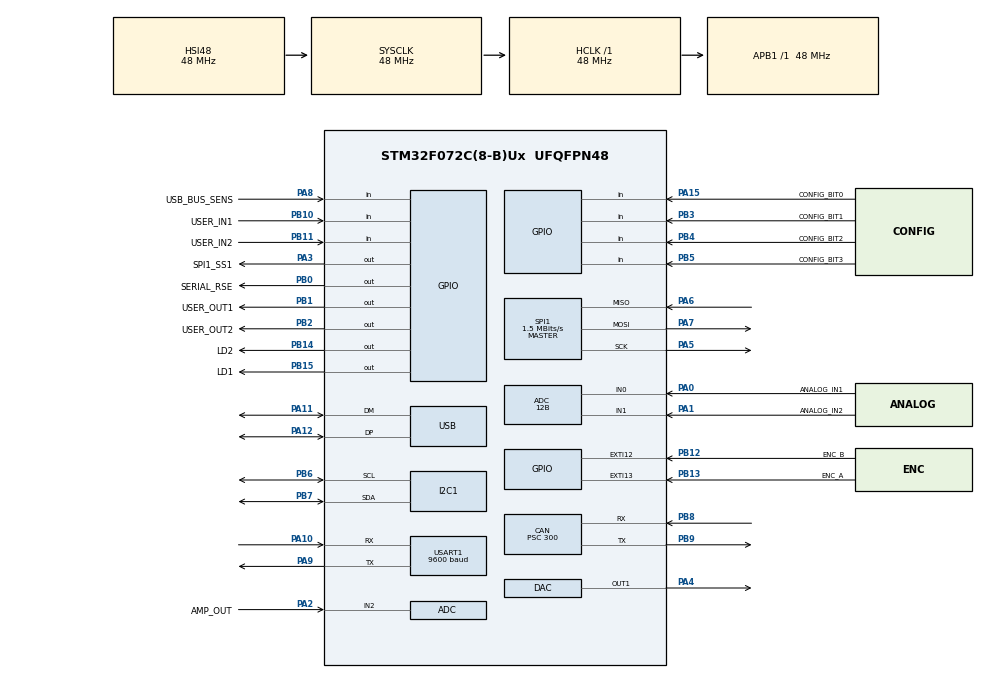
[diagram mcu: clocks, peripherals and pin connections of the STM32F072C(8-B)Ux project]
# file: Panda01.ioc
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Mcu.Family=STM32F0
PA6.Mode=Full_Duplex_Master
USB_DEVICE.CLASS_NAME_FS=CDC
Dma.ADC.0.Mode=DMA_CIRCULAR
SPI1.VirtualType=VM_MASTER
PB10.GPIO_PuPd=GPIO_PULLUP
NVIC.USB_IRQn=true\:0\:0\:false\:false\:true\:false\:true
USART1.BaudRate=9600
PB14.GPIO_Label=LD2
PA0.GPIO_Label=ANALOG_IN1
Dma.ADC.0.Priority=DMA_PRIORITY_HIGH
PA11.Mode=Device
ADC.ScanConvMode=ADC_SCAN_DIRECTION_FORWARD
PB0.GPIO_Label=SERIAL_RSE
PB11.GPIO_PuPd=GPIO_PULLUP
PB13.GPIO_Label=ENC_A
PB11.Signal=GPIO_Input
PB15.Signal=GPIO_Output
PB13.Signal=GPXTI13
USART1.AutoBaudRateMode=UART_ADVFEATURE_AUTOBAUDRATE_ONFALLINGEDGE
RCC.SYSCLKSource=RCC_SYSCLKSOURCE_HSI48
ProjectManager.StackSize=0x400
NVIC.I2C1_IRQn=true\:0\:0\:false\:false\:true\:true\:true
PA15.GPIO_Label=CONFIG_BIT0
PA12.Signal=USB_DP
CAN.Prescaler=300
SPI1.CLKPolarity=SPI_POLARITY_HIGH
Dma.ADC.0.PeriphInc=DMA_PINC_DISABLE
SPI1.Direction=SPI_DIRECTION_2LINES
RCC.HCLKFreq_Value=48000000
PB6.Signal=I2C1_SCL
PB6.Mode=I2C
SPI1.CalculateBaudRate=1.5 MBits/s
RCC.AHBFreq_Value=48000000
Dma.ADC.0.Direction=DMA_PERIPH_TO_MEMORY
ADC.SamplingTime=ADC_SAMPLETIME_239CYCLES_5
PB2.Signal=GPIO_Output
TIM14.Period=64865
PB12.GPIO_Label=ENC_B
PA14.Mode=Serial_Wire
PB1.GPIO_Label=USER_OUT1
SPI1.DataSize=SPI_DATASIZE_8BIT
PA0.Mode=IN0
PB7.Signal=I2C1_SDA
PA8.Signal=GPIO_Input
CAN.CalculateTimeQuantum=6250.0
PA0.Signal=ADC_IN0
Dma.ADC.0.MemInc=DMA_MINC_ENABLE
Mcu.Package=UFQFPN48
PB9.Signal=CAN_TX
TIM2.Prescaler=48
PB1.Signal=GPIO_Output
PA6.Signal=SPI1_MISO
PA2.GPIO_Label=AMP_OUT
Dma.ADC.0.Instance=DMA1_Channel1
PA10.Signal=USART1_RX
PA15.Signal=GPIO_Input
Dma.ADC.0.MemDataAlignment=DMA_MDATAALIGN_HALFWORD
PB5.GPIO_Label=CONFIG_BIT3
ADC.Resolution=ADC_RESOLUTION_12B
RCC.APB1TimFreq_Value=48000000
VP_TIM14_VS_ClockSourceINT.Mode=Enable_Timer
NVIC.USART1_IRQn=true\:0\:0\:false\:false\:true\:true\:true
Dma.Request0=ADC
SPI1.BaudRatePrescaler=SPI_BAUDRATEPRESCALER_32
NVIC.EXTI4_15_IRQn=true\:0\:0\:false\:false\:true\:true\:true
PB4.Signal=GPIO_Input
PA3.Signal=GPIO_Output
PA5.Mode=Full_Duplex_Master
PB3.GPIO_Label=CONFIG_BIT1
SH.COMP_DAC1_group.0=DAC_OUT1,DAC_OUT1
NVIC.TIM14_IRQn=true\:0\:0\:false\:false\:true\:true\:true
PA7.Mode=Full_Duplex_Master
PA10.Mode=Asynchronous
USB_DEVICE.VirtualModeFS=Cdc_FS
CAN.CalculateBaudRate=10000
PB11.GPIO_Label=USER_IN2
SPI1.CLKPhase=SPI_PHASE_2EDGE
ADC.ClockPrescaler=ADC_CLOCK_SYNC_PCLK_DIV4
CRC.GeneratingPolynomial=X15+X2+X0
PB13.GPIO_ModeDefaultEXTI=GPIO_MODE_IT_RISING_FALLING
CAN.CalculateTimeBit=100000.00
Dma.ADC.0.PeriphDataAlignment=DMA_PDATAALIGN_HALFWORD
USART1.VirtualMode-Asynchronous=VM_ASYNC
PA13.Signal=SYS_SWDIO
CRC.DefaultPolynomialUse=DEFAULT_POLYNOMIAL_DISABLE
PA9.Mode=Asynchronous
CAN.BS2=CAN_BS2_2TQ
PA8.GPIO_Label=USB_BUS_SENS
CAN.BS1=CAN_BS1_13TQ
CRC.InputDataInversionMode=CRC_INPUTDATA_INVERSION_BYTE
ProjectManager.TargetToolchain=STM32CubeIDE
PB10.GPIO_Label=USER_IN1
VP_USB_DEVICE_VS_USB_DEVICE_CDC_FS.Mode=CDC_FS
PB9.Mode=CAN_Activate
PA9.Signal=USART1_TX
PA1.Signal=ADC_IN1
PB10.Signal=GPIO_Input
PB14.Signal=GPIO_Output
PA5.Signal=SPI1_SCK
ADC.DMAContinuousRequests=ENABLE
board=custom
PB13.GPIO_PuPd=GPIO_PULLUP
PA1.Mode=IN1
PB4.GPIO_Label=CONFIG_BIT2
PB15.GPIO_Label=LD1
VP_TIM2_VS_ClockSourceINT.Mode=Internal
SPI1.Mode=SPI_MODE_MASTER
PA1.GPIO_Label=ANALOG_IN2
PA13.Mode=Serial_Wire
CRC.OutputDataInversionMode=CRC_OUTPUTDATA_INVERSION_ENABLE
Mcu.Name=STM32F072C(8-B)Ux
TIM14.Prescaler=74
PA2.Signal=ADC_IN2
I2C1.OwnAddress=50
PB3.Signal=GPIO_Input
PA4.Signal=COMP_DAC1_group
NVIC.CEC_CAN_IRQn=true\:0\:0\:false\:false\:true\:true\:true
RCC.SYSCLKFreq_VALUE=48000000
PB5.Signal=GPIO_Input
PA12.Mode=Device
USART1.AutoBaudRateEnableParam=UART_ADVFEATURE_AUTOBAUDRATE_ENABLE
CRC.DefaultInitValueUse=DEFAULT_INIT_VALUE_ENABLE
PB7.Mode=I2C
PA11.Signal=USB_DM
PA14.Signal=SYS_SWCLK
PB2.GPIO_Label=USER_OUT2
ProjectManager.HeapSize=0x200
PB12.GPIO_ModeDefaultEXTI=GPIO_MODE_IT_RISING_FALLING
PB8.Mode=CAN_Activate
PA2.Mode=IN2
PB8.Signal=CAN_RX
NVIC.DMA1_Channel1_IRQn=true\:0\:0\:false\:false\:true\:false\:true
PB12.GPIO_PuPd=GPIO_PULLUP
RCC.APB1Freq_Value=48000000
VP_CRC_VS_CRC.Mode=CRC_Activate
PB0.Signal=GPIO_Output
ADC.ContinuousConvMode=ENABLE
USB_DEVICE.VirtualMode=Cdc
PB12.Signal=GPXTI12
PA3.GPIO_Label=SPI1_SS1
CRC.CRCLength=CRC_POLYLENGTH_16B
PA7.Signal=SPI1_MOSI

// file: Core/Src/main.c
/* USER CODE BEGIN Header */
/**
  ******************************************************************************
  * @file           : main.c
  * @brief          : Main program body
  ******************************************************************************
  * @attention
  *
  * <h2><center>&copy; Copyright (c) 2020 STMicroelectronics.
  * All rights reserved.</center></h2>
  *
  * This software component is licensed by ST under BSD 3-Clause license,
  * the "License"; You may not use this file except in compliance with the
  * License. You may obtain a copy of the License at:
  *                        opensource.org/licenses/BSD-3-Clause
  *
  ******************************************************************************
  */
/* USER CODE END Header */
#include "main.h"
#include "usb_device.h"

/* USER CODE BEGIN Includes */
#include "acquisition.h"
#include "outputs.h"
#include "panda_usb_device.h"
#include "panda_serial_device.h"
#include "panda_i2c.h"
#include "spi_devices.h"
#include "panda_utils.h"

/* USER CODE END Includes */

ADC_HandleTypeDef hadc;
DMA_HandleTypeDef hdma_adc;

CAN_HandleTypeDef hcan;

CRC_HandleTypeDef hcrc;

DAC_HandleTypeDef hdac;

I2C_HandleTypeDef hi2c1;

SPI_HandleTypeDef hspi1;

TIM_HandleTypeDef htim2;
TIM_HandleTypeDef htim14;

UART_HandleTypeDef huart1;

/* USER CODE BEGIN PV */
CAN_FilterTypeDef canFilterConfig;
CAN_TxHeaderTypeDef canTxMsg;
CAN_RxHeaderTypeDef canRxMsg;
uint32_t txMailbox;
/* USER CODE END PV */

void SystemClock_Config(void);
static void MX_GPIO_Init(void);
static void MX_DMA_Init(void);
static void MX_ADC_Init(void);
static void MX_CAN_Init(void);
static void MX_DAC_Init(void);
static void MX_I2C1_Init(void);
static void MX_SPI1_Init(void);
static void MX_USART1_UART_Init(void);
static void MX_TIM2_Init(void);
static void MX_TIM14_Init(void);
static void MX_CRC_Init(void);
/* USER CODE BEGIN PFP */
static void can_filterConfig(void);
static void can_msgConfig(void);

/* USER CODE END PFP */

/* USER CODE BEGIN 0 */
uint8_t canRx[8];
uint32_t aux ;
uint32_t enc = 0;
/* USER CODE END 0 */

int main(void)
{

  /* MCU Configuration--------------------------------------------------------*/

  /* Reset of all peripherals, Initializes the Flash interface and the Systick. */
  HAL_Init();

  /* Configure the system clock */
  SystemClock_Config();

  /* Initialize all configured peripherals */
  MX_GPIO_Init();
  MX_DMA_Init();
  MX_ADC_Init();
  MX_CAN_Init();
  MX_DAC_Init();
  MX_I2C1_Init();
  MX_SPI1_Init();
  MX_USART1_UART_Init();
  MX_USB_DEVICE_Init();
  MX_TIM2_Init();
  MX_TIM14_Init();
  MX_CRC_Init();
  /* USER CODE BEGIN 2 */
  outputsInit(&htim14);
  spiInit(&hspi1);
  acquisitionInit(&hadc, &htim2, &hdac);
  statusLedOff();
  usb_init();
  i2cInit(&hi2c1);
  serial_init(&huart1);
  can_filterConfig();
  HAL_CAN_ActivateNotification(&hcan, CAN_IT_RX_FIFO0_MSG_PENDING);
  HAL_CAN_ActivateNotification(&hcan, CAN_IT_TX_MAILBOX_EMPTY);
  HAL_CAN_Start(&hcan);
  can_msgConfig();
  uint8_t can_data[2] = {0,77};

//uint8_t frame2[8] = {0x04, 0x05 , 0x00 , 0x00, 0xFF , 0x00,0x8C, 0x6F};///liga o led
//uint8_t frame3[8] = {0x04, 0x05 , 0x00 , 0x00, 0x00 , 0x00,0xCD, 0x9F};
//uint8_t last_sent = 0;
  /* USER CODE END 2 */

  /* Infinite loop */
  /* USER CODE BEGIN WHILE */
  while (1)

 {
	  usbController();
	  userLedController();
	  i2cController();
	  serialController();
	  enc = getEncoderCount();

//	  if (getUserIn(1)==0){
//		  can_data[0]++;
//		  userLedMode(1);
//		  HAL_CAN_AddTxMessage(&hcan, &canTxMsg, can_data, &txMailbox);
//		  HAL_Delay(30);
//		  userLedMode(0);
//	  }
//	  userLedMode(canRx[0]%2);

//	  if (getUserIn(1) == 0){
//		  HAL_Delay(200);
//		  userLedMode(0);
//		  HAL_GPIO_WritePin(SERIAL_RSE_GPIO_Port, SERIAL_RSE_Pin, 1);
//		  switch(last_sent){
//		  case 0:
//			  HAL_UART_Transmit(&huart1, frame2, 8, 10);
//			  last_sent = 1;
//			  break;
//		  case 1:
//			  HAL_UART_Transmit(&huart1, frame3, 8, 10);
//			  last_sent = 0;
//			  break;
//		  }
//		  HAL_GPIO_WritePin(SERIAL_RSE_GPIO_Port, SERIAL_RSE_Pin, 0);
//		  userLedMode(1);
//	  }

    /* USER CODE END WHILE */

  }
}

void SystemClock_Config(void)
{
  RCC_OscInitTypeDef RCC_OscInitStruct = {0};
  RCC_ClkInitTypeDef RCC_ClkInitStruct = {0};
  RCC_PeriphCLKInitTypeDef PeriphClkInit = {0};

  /** Initializes the RCC Oscillators according to the specified parameters
  * in the RCC_OscInitTypeDef structure.
  */
  RCC_OscInitStruct.OscillatorType = RCC_OSCILLATORTYPE_HSI|RCC_OSCILLATORTYPE_HSI48;
  RCC_OscInitStruct.HSIState = RCC_HSI_ON;
  RCC_OscInitStruct.HSI48State = RCC_HSI48_ON;
  RCC_OscInitStruct.HSICalibrationValue = RCC_HSICALIBRATION_DEFAULT;
  RCC_OscInitStruct.PLL.PLLState = RCC_PLL_NONE;
  if (HAL_RCC_OscConfig(&RCC_OscInitStruct) != HAL_OK)
  {
    Error_Handler();
  }
  /** Initializes the CPU, AHB and APB buses clocks
  */
  RCC_ClkInitStruct.ClockType = RCC_CLOCKTYPE_HCLK|RCC_CLOCKTYPE_SYSCLK
                              |RCC_CLOCKTYPE_PCLK1;
  RCC_ClkInitStruct.SYSCLKSource = RCC_SYSCLKSOURCE_HSI48;
  RCC_ClkInitStruct.AHBCLKDivider = RCC_SYSCLK_DIV1;
  RCC_ClkInitStruct.APB1CLKDivider = RCC_HCLK_DIV1;

  if (HAL_RCC_ClockConfig(&RCC_ClkInitStruct, FLASH_LATENCY_1) != HAL_OK)
  {
    Error_Handler();
  }
  PeriphClkInit.PeriphClockSelection = RCC_PERIPHCLK_USB|RCC_PERIPHCLK_USART1
                              |RCC_PERIPHCLK_I2C1;
  PeriphClkInit.Usart1ClockSelection = RCC_USART1CLKSOURCE_PCLK1;
  PeriphClkInit.I2c1ClockSelection = RCC_I2C1CLKSOURCE_HSI;
  PeriphClkInit.UsbClockSelection = RCC_USBCLKSOURCE_HSI48;

  if (HAL_RCCEx_PeriphCLKConfig(&PeriphClkInit) != HAL_OK)
  {
    Error_Handler();
  }
}

static void MX_ADC_Init(void)
{

  ADC_ChannelConfTypeDef sConfig = {0};

  /** Configure the global features of the ADC (Clock, Resolution, Data Alignment and number of conversion)
  */
  hadc.Instance = ADC1;
  hadc.Init.ClockPrescaler = ADC_CLOCK_SYNC_PCLK_DIV4;
  hadc.Init.Resolution = ADC_RESOLUTION_12B;
  hadc.Init.DataAlign = ADC_DATAALIGN_RIGHT;
  hadc.Init.ScanConvMode = ADC_SCAN_DIRECTION_FORWARD;
  hadc.Init.EOCSelection = ADC_EOC_SINGLE_CONV;
  hadc.Init.LowPowerAutoWait = DISABLE;
  hadc.Init.LowPowerAutoPowerOff = DISABLE;
  hadc.Init.ContinuousConvMode = ENABLE;
  hadc.Init.DiscontinuousConvMode = DISABLE;
  hadc.Init.ExternalTrigConv = ADC_SOFTWARE_START;
  hadc.Init.ExternalTrigConvEdge = ADC_EXTERNALTRIGCONVEDGE_NONE;
  hadc.Init.DMAContinuousRequests = ENABLE;
  hadc.Init.Overrun = ADC_OVR_DATA_PRESERVED;
  if (HAL_ADC_Init(&hadc) != HAL_OK)
  {
    Error_Handler();
  }
  /** Configure for the selected ADC regular channel to be converted.
  */
  sConfig.Channel = ADC_CHANNEL_0;
  sConfig.Rank = ADC_RANK_CHANNEL_NUMBER;
  sConfig.SamplingTime = ADC_SAMPLETIME_239CYCLES_5;
  if (HAL_ADC_ConfigChannel(&hadc, &sConfig) != HAL_OK)
  {
    Error_Handler();
  }
  /** Configure for the selected ADC regular channel to be converted.
  */
  sConfig.Channel = ADC_CHANNEL_1;
  if (HAL_ADC_ConfigChannel(&hadc, &sConfig) != HAL_OK)
  {
    Error_Handler();
  }
  /** Configure for the selected ADC regular channel to be converted.
  */
  sConfig.Channel = ADC_CHANNEL_2;
  if (HAL_ADC_ConfigChannel(&hadc, &sConfig) != HAL_OK)
  {
    Error_Handler();
  }

}

static void MX_CAN_Init(void)
{

  hcan.Instance = CAN;
  hcan.Init.Prescaler = 300;
  hcan.Init.Mode = CAN_MODE_NORMAL;
  hcan.Init.SyncJumpWidth = CAN_SJW_1TQ;
  hcan.Init.TimeSeg1 = CAN_BS1_13TQ;
  hcan.Init.TimeSeg2 = CAN_BS2_2TQ;
  hcan.Init.TimeTriggeredMode = DISABLE;
  hcan.Init.AutoBusOff = DISABLE;
  hcan.Init.AutoWakeUp = DISABLE;
  hcan.Init.AutoRetransmission = DISABLE;
  hcan.Init.ReceiveFifoLocked = DISABLE;
  hcan.Init.TransmitFifoPriority = DISABLE;
  if (HAL_CAN_Init(&hcan) != HAL_OK)
  {
    Error_Handler();
  }

}

static void MX_CRC_Init(void)
{

  hcrc.Instance = CRC;
  hcrc.Init.DefaultPolynomialUse = DEFAULT_POLYNOMIAL_DISABLE;
  hcrc.Init.DefaultInitValueUse = DEFAULT_INIT_VALUE_ENABLE;
  hcrc.Init.GeneratingPolynomial = 32773;
  hcrc.Init.CRCLength = CRC_POLYLENGTH_16B;
  hcrc.Init.InputDataInversionMode = CRC_INPUTDATA_INVERSION_BYTE;
  hcrc.Init.OutputDataInversionMode = CRC_OUTPUTDATA_INVERSION_ENABLE;
  hcrc.InputDataFormat = CRC_INPUTDATA_FORMAT_BYTES;
  if (HAL_CRC_Init(&hcrc) != HAL_OK)
  {
    Error_Handler();
  }

}

static void MX_DAC_Init(void)
{

  DAC_ChannelConfTypeDef sConfig = {0};

  /** DAC Initialization
  */
  hdac.Instance = DAC;
  if (HAL_DAC_Init(&hdac) != HAL_OK)
  {
    Error_Handler();
  }
  /** DAC channel OUT1 config
  */
  sConfig.DAC_Trigger = DAC_TRIGGER_NONE;
  sConfig.DAC_OutputBuffer = DAC_OUTPUTBUFFER_ENABLE;
  if (HAL_DAC_ConfigChannel(&hdac, &sConfig, DAC_CHANNEL_1) != HAL_OK)
  {
    Error_Handler();
  }

}

static void MX_I2C1_Init(void)
{

  hi2c1.Instance = I2C1;
  hi2c1.Init.Timing = 0x2000090E;
  hi2c1.Init.OwnAddress1 = 100;
  hi2c1.Init.AddressingMode = I2C_ADDRESSINGMODE_7BIT;
  hi2c1.Init.DualAddressMode = I2C_DUALADDRESS_DISABLE;
  hi2c1.Init.OwnAddress2 = 0;
  hi2c1.Init.OwnAddress2Masks = I2C_OA2_NOMASK;
  hi2c1.Init.GeneralCallMode = I2C_GENERALCALL_DISABLE;
  hi2c1.Init.NoStretchMode = I2C_NOSTRETCH_DISABLE;
  if (HAL_I2C_Init(&hi2c1) != HAL_OK)
  {
    Error_Handler();
  }
  /** Configure Analogue filter
  */
  if (HAL_I2CEx_ConfigAnalogFilter(&hi2c1, I2C_ANALOGFILTER_ENABLE) != HAL_OK)
  {
    Error_Handler();
  }
  /** Configure Digital filter
  */
  if (HAL_I2CEx_ConfigDigitalFilter(&hi2c1, 0) != HAL_OK)
  {
    Error_Handler();
  }

}

static void MX_SPI1_Init(void)
{

  /* SPI1 parameter configuration*/
  hspi1.Instance = SPI1;
  hspi1.Init.Mode = SPI_MODE_MASTER;
  hspi1.Init.Direction = SPI_DIRECTION_2LINES;
  hspi1.Init.DataSize = SPI_DATASIZE_8BIT;
  hspi1.Init.CLKPolarity = SPI_POLARITY_HIGH;
  hspi1.Init.CLKPhase = SPI_PHASE_2EDGE;
  hspi1.Init.NSS = SPI_NSS_SOFT;
  hspi1.Init.BaudRatePrescaler = SPI_BAUDRATEPRESCALER_32;
  hspi1.Init.FirstBit = SPI_FIRSTBIT_MSB;
  hspi1.Init.TIMode = SPI_TIMODE_DISABLE;
  hspi1.Init.CRCCalculation = SPI_CRCCALCULATION_DISABLE;
  hspi1.Init.CRCPolynomial = 7;
  hspi1.Init.CRCLength = SPI_CRC_LENGTH_DATASIZE;
  hspi1.Init.NSSPMode = SPI_NSS_PULSE_DISABLE;
  if (HAL_SPI_Init(&hspi1) != HAL_OK)
  {
    Error_Handler();
  }

}

static void MX_TIM2_Init(void)
{

  TIM_ClockConfigTypeDef sClockSourceConfig = {0};
  TIM_MasterConfigTypeDef sMasterConfig = {0};

  htim2.Instance = TIM2;
  htim2.Init.Prescaler = 48;
  htim2.Init.CounterMode = TIM_COUNTERMODE_UP;
  htim2.Init.Period = 4294967295;
  htim2.Init.ClockDivision = TIM_CLOCKDIVISION_DIV1;
  htim2.Init.AutoReloadPreload = TIM_AUTORELOAD_PRELOAD_DISABLE;
  if (HAL_TIM_Base_Init(&htim2) != HAL_OK)
  {
    Error_Handler();
  }
  sClockSourceConfig.ClockSource = TIM_CLOCKSOURCE_INTERNAL;
  if (HAL_TIM_ConfigClockSource(&htim2, &sClockSourceConfig) != HAL_OK)
  {
    Error_Handler();
  }
  sMasterConfig.MasterOutputTrigger = TIM_TRGO_RESET;
  sMasterConfig.MasterSlaveMode = TIM_MASTERSLAVEMODE_DISABLE;
  if (HAL_TIMEx_MasterConfigSynchronization(&htim2, &sMasterConfig) != HAL_OK)
  {
    Error_Handler();
  }

}

static void MX_TIM14_Init(void)
{

  htim14.Instance = TIM14;
  htim14.Init.Prescaler = 74;
  htim14.Init.CounterMode = TIM_COUNTERMODE_UP;
  htim14.Init.Period = 64865;
  htim14.Init.ClockDivision = TIM_CLOCKDIVISION_DIV1;
  htim14.Init.AutoReloadPreload = TIM_AUTORELOAD_PRELOAD_DISABLE;
  if (HAL_TIM_Base_Init(&htim14) != HAL_OK)
  {
    Error_Handler();
  }

}

static void MX_USART1_UART_Init(void)
{

  huart1.Instance = USART1;
  huart1.Init.BaudRate = 9600;
  huart1.Init.WordLength = UART_WORDLENGTH_8B;
  huart1.Init.StopBits = UART_STOPBITS_1;
  huart1.Init.Parity = UART_PARITY_NONE;
  huart1.Init.Mode = UART_MODE_TX_RX;
  huart1.Init.HwFlowCtl = UART_HWCONTROL_NONE;
  huart1.Init.OverSampling = UART_OVERSAMPLING_16;
  huart1.Init.OneBitSampling = UART_ONE_BIT_SAMPLE_DISABLE;
  huart1.AdvancedInit.AdvFeatureInit = UART_ADVFEATURE_AUTOBAUDRATE_INIT;
  huart1.AdvancedInit.AutoBaudRateEnable = UART_ADVFEATURE_AUTOBAUDRATE_ENABLE;
  huart1.AdvancedInit.AutoBaudRateMode = UART_ADVFEATURE_AUTOBAUDRATE_ONFALLINGEDGE;
  if (HAL_UART_Init(&huart1) != HAL_OK)
  {
    Error_Handler();
  }

}

static void MX_DMA_Init(void)
{

  /* DMA controller clock enable */
  __HAL_RCC_DMA1_CLK_ENABLE();

  /* DMA interrupt init */
  /* DMA1_Channel1_IRQn interrupt configuration */
  HAL_NVIC_SetPriority(DMA1_Channel1_IRQn, 0, 0);
  HAL_NVIC_EnableIRQ(DMA1_Channel1_IRQn);

}

static void MX_GPIO_Init(void)
{
  GPIO_InitTypeDef GPIO_InitStruct = {0};

  /* GPIO Ports Clock Enable */
  __HAL_RCC_GPIOA_CLK_ENABLE();
  __HAL_RCC_GPIOB_CLK_ENABLE();

  /*Configure GPIO pin Output Level */
  HAL_GPIO_WritePin(SPI1_SS1_GPIO_Port, SPI1_SS1_Pin, GPIO_PIN_RESET);

  /*Configure GPIO pin Output Level */
  HAL_GPIO_WritePin(GPIOB, SERIAL_RSE_Pin|USER_OUT1_Pin|USER_OUT2_Pin|LD2_Pin
                          |LD1_Pin, GPIO_PIN_RESET);

  /*Configure GPIO pin : SPI1_SS1_Pin */
  GPIO_InitStruct.Pin = SPI1_SS1_Pin;
  GPIO_InitStruct.Mode = GPIO_MODE_OUTPUT_PP;
  GPIO_InitStruct.Pull = GPIO_NOPULL;
  GPIO_InitStruct.Speed = GPIO_SPEED_FREQ_LOW;
  HAL_GPIO_Init(SPI1_SS1_GPIO_Port, &GPIO_InitStruct);

  /*Configure GPIO pins : SERIAL_RSE_Pin USER_OUT1_Pin USER_OUT2_Pin LD2_Pin
                           LD1_Pin */
  GPIO_InitStruct.Pin = SERIAL_RSE_Pin|USER_OUT1_Pin|USER_OUT2_Pin|LD2_Pin
                          |LD1_Pin;
  GPIO_InitStruct.Mode = GPIO_MODE_OUTPUT_PP;
  GPIO_InitStruct.Pull = GPIO_NOPULL;
  GPIO_InitStruct.Speed = GPIO_SPEED_FREQ_LOW;
  HAL_GPIO_Init(GPIOB, &GPIO_InitStruct);

  /*Configure GPIO pins : USER_IN1_Pin USER_IN2_Pin */
  GPIO_InitStruct.Pin = USER_IN1_Pin|USER_IN2_Pin;
  GPIO_InitStruct.Mode = GPIO_MODE_INPUT;
  GPIO_InitStruct.Pull = GPIO_PULLUP;
  HAL_GPIO_Init(GPIOB, &GPIO_InitStruct);

  /*Configure GPIO pins : ENC_B_Pin ENC_A_Pin */
  GPIO_InitStruct.Pin = ENC_B_Pin|ENC_A_Pin;
  GPIO_InitStruct.Mode = GPIO_MODE_IT_RISING_FALLING;
  GPIO_InitStruct.Pull = GPIO_PULLUP;
  HAL_GPIO_Init(GPIOB, &GPIO_InitStruct);

  /*Configure GPIO pins : USB_BUS_SENS_Pin CONFIG_BIT0_Pin */
  GPIO_InitStruct.Pin = USB_BUS_SENS_Pin|CONFIG_BIT0_Pin;
  GPIO_InitStruct.Mode = GPIO_MODE_INPUT;
  GPIO_InitStruct.Pull = GPIO_NOPULL;
  HAL_GPIO_Init(GPIOA, &GPIO_InitStruct);

  /*Configure GPIO pins : CONFIG_BIT1_Pin CONFIG_BIT2_Pin CONFIG_BIT3_Pin */
  GPIO_InitStruct.Pin = CONFIG_BIT1_Pin|CONFIG_BIT2_Pin|CONFIG_BIT3_Pin;
  GPIO_InitStruct.Mode = GPIO_MODE_INPUT;
  GPIO_InitStruct.Pull = GPIO_NOPULL;
  HAL_GPIO_Init(GPIOB, &GPIO_InitStruct);

  /* EXTI interrupt init*/
  HAL_NVIC_SetPriority(EXTI4_15_IRQn, 0, 0);
  HAL_NVIC_EnableIRQ(EXTI4_15_IRQn);

}

/* USER CODE BEGIN 4 */
void HAL_GPIO_EXTI_Callback(uint16_t GPIO_Pin)
{
  if(GPIO_Pin == ENC_A_Pin || GPIO_Pin == ENC_B_Pin){
	  encoderController();
  }
}
void HAL_ADC_ConvCpltCallback(ADC_HandleTypeDef* hadc){
	sendToFilter();
}

uint16_t calcCRC(uint8_t * data, uint8_t len){
	return HAL_CRC_Calculate(&hcrc, (uint32_t*)data, len);
}
/*
void HAL_I2C_SlaveRxCpltCallback(I2C_HandleTypeDef *hi2c){
	i2cProcessRequest();
}
void HAL_I2C_SlaveTxCpltCallback(I2C_HandleTypeDef *hi2c){
	i2cEnable();
}
*/

void can_filterConfig(){
	canFilterConfig.FilterActivation = CAN_FILTER_ENABLE;
	canFilterConfig.FilterIdHigh = 0x245 << 5;
	canFilterConfig.FilterIdLow = 0x0000;
	canFilterConfig.FilterFIFOAssignment = CAN_FILTER_FIFO0;
	canFilterConfig.FilterMaskIdHigh = 0x0000;
	canFilterConfig.FilterMaskIdLow = 0x0000;
	canFilterConfig.FilterScale = CAN_FILTERSCALE_32BIT;
	if (HAL_CAN_ConfigFilter(&hcan, &canFilterConfig) != HAL_OK){
		Error_Handler();
	}
}
void can_msgConfig(){
	canTxMsg.StdId = 0x200;
	canTxMsg.IDE = CAN_ID_STD;
	canTxMsg.RTR = CAN_RTR_DATA;
	canTxMsg.DLC = 2;
}

void HAL_CAN_RxFifo0MsgPendingCallback(CAN_HandleTypeDef *hcan){
	HAL_CAN_GetRxMessage(hcan, CAN_RX_FIFO0, &canRxMsg, canRx);
}
/* USER CODE END 4 */

void Error_Handler(void)
{
}

/************************ (C) COPYRIGHT STMicroelectronics *****END OF FILE****/
